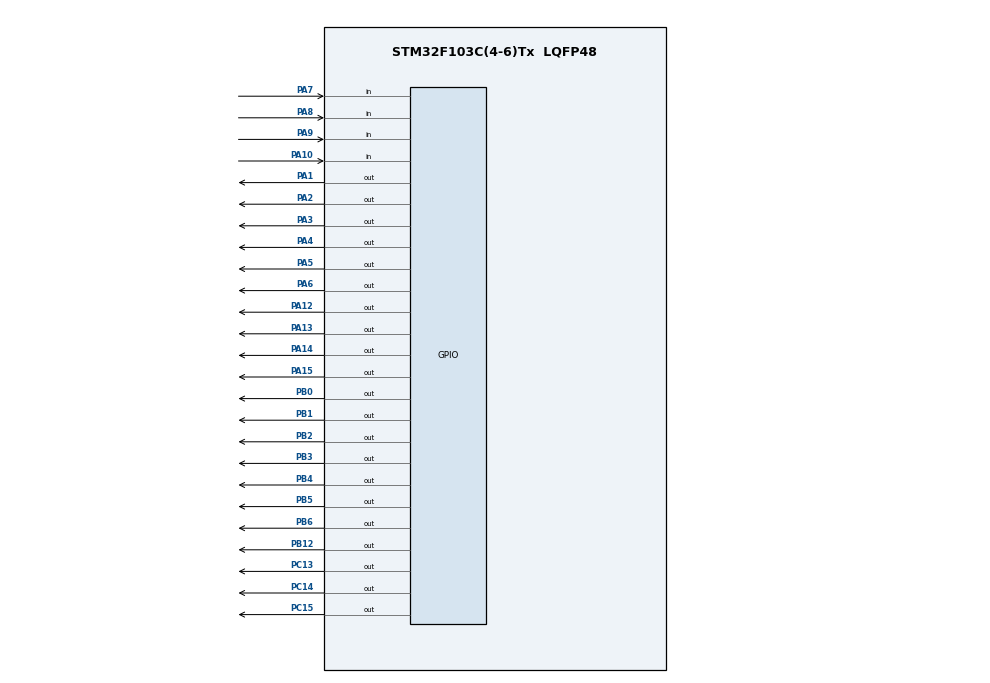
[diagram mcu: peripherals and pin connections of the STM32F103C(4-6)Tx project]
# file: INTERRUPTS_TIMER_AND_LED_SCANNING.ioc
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Mcu.Family=STM32F1
Mcu.Name=STM32F103C(4-6)Tx
Mcu.Package=LQFP48
NVIC.PriorityGroup=NVIC_PRIORITYGROUP_4
NVIC.TIM2_IRQn=true\:0\:0\:false\:false\:true\:true\:true
PA1.Signal=GPIO_Output
PA10.Signal=GPIO_Input
PA12.Signal=GPIO_Output
PA13.Signal=GPIO_Output
PA14.Signal=GPIO_Output
PA15.Signal=GPIO_Output
PA2.Signal=GPIO_Output
PA3.Signal=GPIO_Output
PA4.Signal=GPIO_Output
PA5.Signal=GPIO_Output
PA6.Signal=GPIO_Output
PA7.Signal=GPIO_Input
PA8.Signal=GPIO_Input
PA9.Signal=GPIO_Input
PB0.Signal=GPIO_Output
PB1.Signal=GPIO_Output
PB12.Signal=GPIO_Output
PB2.Signal=GPIO_Output
PB3.Signal=GPIO_Output
PB4.Signal=GPIO_Output
PB5.Signal=GPIO_Output
PB6.Signal=GPIO_Output
PC13-TAMPER-RTC.Signal=GPIO_Output
PC14-OSC32_IN.Signal=GPIO_Output
PC15-OSC32_OUT.Signal=GPIO_Output
PD0-OSC_IN.Mode=HSE-External-Oscillator
PD0-OSC_IN.Signal=RCC_OSC_IN
PD1-OSC_OUT.Mode=HSE-External-Oscillator
PD1-OSC_OUT.Signal=RCC_OSC_OUT
ProjectManager.HeapSize=0x200
ProjectManager.StackSize=0x400
ProjectManager.TargetToolchain=STM32CubeIDE
RCC.APB1Freq_Value=8000000
RCC.APB2Freq_Value=8000000
TIM2.Period=10-1
TIM2.Prescaler=8000-1
VP_SYS_VS_ND.Mode=No_Debug
VP_TIM2_VS_ClockSourceINT.Mode=Internal
board=custom

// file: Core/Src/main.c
/* USER CODE BEGIN Header */
/**
  ******************************************************************************
  * @file           : main.c
  * @brief          : Main program body
  ******************************************************************************
  * @attention
  *
  * <h2><center>&copy; Copyright (c) 2021 STMicroelectronics.
  * All rights reserved.</center></h2>
  *
  * This software component is licensed by ST under BSD 3-Clause license,
  * the "License"; You may not use this file except in compliance with the
  * License. You may obtain a copy of the License at:
  *                        opensource.org/licenses/BSD-3-Clause
  *
  ******************************************************************************
  */
/* USER CODE END Header */
#include "main.h"

/* USER CODE BEGIN Includes */
#include "led_7seg_anode.h"
#include "Timer_Interrupt.h"
#include"input_processing.h"
#include"input_reading.h"
#include"traffic_led.h"
/* USER CODE END Includes */

/* USER CODE BEGIN PD */
#define GROUP_EN GPIOA
#define EN0 GPIO_PIN_12
#define EN1 GPIO_PIN_13
#define EN2 GPIO_PIN_14
#define EN3 GPIO_PIN_15
#define NUMS 4 // Max led

static uint16_t ENA[NUMS] = {EN0,EN1,EN2,EN3};
static int led_buffer[4] = {0,0,0,0};
/* USER CODE END PD */

TIM_HandleTypeDef htim2;

void SystemClock_Config(void);
static void MX_GPIO_Init(void);
static void MX_TIM2_Init(void);

/* USER CODE BEGIN 0 */
void InitTimer(void){
	for(int i = 0; i < NUMS;i++){
		HAL_GPIO_WritePin(GROUP_EN,ENA[i], SET);
	}
}
 void updateClockBuffer(int h,int m){
	 // Hour
		 led_buffer[0] = h /10;
		 led_buffer[1] = h % 10;
	 // Minute
		 led_buffer[2] = m /10;
	 	 led_buffer[3] = m % 10;
}
/* USER CODE END 0 */

int main(void)
{

  /* MCU Configuration--------------------------------------------------------*/

  /* Reset of all peripherals, Initializes the Flash interface and the Systick. */
  HAL_Init();

  /* Configure the system clock */
  SystemClock_Config();

  /* Initialize all configured peripherals */
  MX_GPIO_Init();
  MX_TIM2_Init();
  /* USER CODE BEGIN 2 */
  InitTimer();
  HAL_TIM_Base_Start_IT(&htim2);
  initStatus();
  initLED();
  /* USER CODE END 2 */

  /* Infinite loop */
  /* USER CODE BEGIN WHILE */
  while (1)
  {
	  fsm_for_input_processing();
	  /* USER CODE END WHILE */

  }
}

void SystemClock_Config(void)
{
  RCC_OscInitTypeDef RCC_OscInitStruct = {0};
  RCC_ClkInitTypeDef RCC_ClkInitStruct = {0};

  /** Initializes the RCC Oscillators according to the specified parameters
  * in the RCC_OscInitTypeDef structure.
  */
  RCC_OscInitStruct.OscillatorType = RCC_OSCILLATORTYPE_HSI;
  RCC_OscInitStruct.HSIState = RCC_HSI_ON;
  RCC_OscInitStruct.HSICalibrationValue = RCC_HSICALIBRATION_DEFAULT;
  RCC_OscInitStruct.PLL.PLLState = RCC_PLL_NONE;
  if (HAL_RCC_OscConfig(&RCC_OscInitStruct) != HAL_OK)
  {
    Error_Handler();
  }
  /** Initializes the CPU, AHB and APB buses clocks
  */
  RCC_ClkInitStruct.ClockType = RCC_CLOCKTYPE_HCLK|RCC_CLOCKTYPE_SYSCLK
                              |RCC_CLOCKTYPE_PCLK1|RCC_CLOCKTYPE_PCLK2;
  RCC_ClkInitStruct.SYSCLKSource = RCC_SYSCLKSOURCE_HSI;
  RCC_ClkInitStruct.AHBCLKDivider = RCC_SYSCLK_DIV1;
  RCC_ClkInitStruct.APB1CLKDivider = RCC_HCLK_DIV1;
  RCC_ClkInitStruct.APB2CLKDivider = RCC_HCLK_DIV1;

  if (HAL_RCC_ClockConfig(&RCC_ClkInitStruct, FLASH_LATENCY_0) != HAL_OK)
  {
    Error_Handler();
  }
}

static void MX_TIM2_Init(void)
{

  TIM_ClockConfigTypeDef sClockSourceConfig = {0};
  TIM_MasterConfigTypeDef sMasterConfig = {0};

  htim2.Instance = TIM2;
  htim2.Init.Prescaler = 8000-1;
  htim2.Init.CounterMode = TIM_COUNTERMODE_UP;
  htim2.Init.Period = 10-1;
  htim2.Init.ClockDivision = TIM_CLOCKDIVISION_DIV1;
  htim2.Init.AutoReloadPreload = TIM_AUTORELOAD_PRELOAD_DISABLE;
  if (HAL_TIM_Base_Init(&htim2) != HAL_OK)
  {
    Error_Handler();
  }
  sClockSourceConfig.ClockSource = TIM_CLOCKSOURCE_INTERNAL;
  if (HAL_TIM_ConfigClockSource(&htim2, &sClockSourceConfig) != HAL_OK)
  {
    Error_Handler();
  }
  sMasterConfig.MasterOutputTrigger = TIM_TRGO_RESET;
  sMasterConfig.MasterSlaveMode = TIM_MASTERSLAVEMODE_DISABLE;
  if (HAL_TIMEx_MasterConfigSynchronization(&htim2, &sMasterConfig) != HAL_OK)
  {
    Error_Handler();
  }

}

static void MX_GPIO_Init(void)
{
  GPIO_InitTypeDef GPIO_InitStruct = {0};

  /* GPIO Ports Clock Enable */
  __HAL_RCC_GPIOC_CLK_ENABLE();
  __HAL_RCC_GPIOD_CLK_ENABLE();
  __HAL_RCC_GPIOA_CLK_ENABLE();
  __HAL_RCC_GPIOB_CLK_ENABLE();

  /*Configure GPIO pin Output Level */
  HAL_GPIO_WritePin(GPIOC, GPIO_PIN_13|GPIO_PIN_14|GPIO_PIN_15, GPIO_PIN_RESET);

  /*Configure GPIO pin Output Level */
  HAL_GPIO_WritePin(GPIOA, GPIO_PIN_1|GPIO_PIN_2|GPIO_PIN_3|GPIO_PIN_4
                          |GPIO_PIN_5|GPIO_PIN_6|GPIO_PIN_12|GPIO_PIN_13
                          |GPIO_PIN_14|GPIO_PIN_15, GPIO_PIN_RESET);

  /*Configure GPIO pin Output Level */
  HAL_GPIO_WritePin(GPIOB, GPIO_PIN_0|GPIO_PIN_1|GPIO_PIN_2|GPIO_PIN_12
                          |GPIO_PIN_3|GPIO_PIN_4|GPIO_PIN_5|GPIO_PIN_6, GPIO_PIN_RESET);

  /*Configure GPIO pins : PC13 PC14 PC15 */
  GPIO_InitStruct.Pin = GPIO_PIN_13|GPIO_PIN_14|GPIO_PIN_15;
  GPIO_InitStruct.Mode = GPIO_MODE_OUTPUT_PP;
  GPIO_InitStruct.Pull = GPIO_NOPULL;
  GPIO_InitStruct.Speed = GPIO_SPEED_FREQ_LOW;
  HAL_GPIO_Init(GPIOC, &GPIO_InitStruct);

  /*Configure GPIO pins : PA1 PA2 PA3 PA4
                           PA5 PA6 PA12 PA13
                           PA14 PA15 */
  GPIO_InitStruct.Pin = GPIO_PIN_1|GPIO_PIN_2|GPIO_PIN_3|GPIO_PIN_4
                          |GPIO_PIN_5|GPIO_PIN_6|GPIO_PIN_12|GPIO_PIN_13
                          |GPIO_PIN_14|GPIO_PIN_15;
  GPIO_InitStruct.Mode = GPIO_MODE_OUTPUT_PP;
  GPIO_InitStruct.Pull = GPIO_NOPULL;
  GPIO_InitStruct.Speed = GPIO_SPEED_FREQ_LOW;
  HAL_GPIO_Init(GPIOA, &GPIO_InitStruct);

  /*Configure GPIO pins : PA7 PA8 PA9 PA10 */
  GPIO_InitStruct.Pin = GPIO_PIN_7|GPIO_PIN_8|GPIO_PIN_9|GPIO_PIN_10;
  GPIO_InitStruct.Mode = GPIO_MODE_INPUT;
  GPIO_InitStruct.Pull = GPIO_NOPULL;
  HAL_GPIO_Init(GPIOA, &GPIO_InitStruct);

  /*Configure GPIO pins : PB0 PB1 PB2 PB12
                           PB3 PB4 PB5 PB6 */
  GPIO_InitStruct.Pin = GPIO_PIN_0|GPIO_PIN_1|GPIO_PIN_2|GPIO_PIN_12
                          |GPIO_PIN_3|GPIO_PIN_4|GPIO_PIN_5|GPIO_PIN_6;
  GPIO_InitStruct.Mode = GPIO_MODE_OUTPUT_PP;
  GPIO_InitStruct.Pull = GPIO_NOPULL;
  GPIO_InitStruct.Speed = GPIO_SPEED_FREQ_LOW;
  HAL_GPIO_Init(GPIOB, &GPIO_InitStruct);

}

/* USER CODE BEGIN 4 */

int led_counter = 0;
int word_counter = 0;
int blink_counter = 0;
int val = -1; // Init
void clear7SEG(int index){
	// Turn off the previous:
	if(index >= 0){
		HAL_GPIO_WritePin(GROUP_EN, ENA[index],SET);
	}
}
void update7SEG(int index){
	HAL_GPIO_WritePin(GROUP_EN, ENA[index],RESET);
	updatesevenSegmentLEDBuffer(led_buffer[index],0);
	sevenSegementLEDDriver(0);
}
int updateIndex(int index){
	// Update the index
	return (index + 1) % NUMS;
}
void presentCLOCK(void){
	//Led
	led_counter = timerLED_run(led_counter);
	//flag
	if(getChangeStateLED() == 1){
		HAL_GPIO_TogglePin(GPIOB, GPIO_PIN_12);
		clear7SEG(val);
		val = updateIndex(val);
		update7SEG(val);
	}
}

void HAL_TIM_PeriodElapsedCallback(TIM_HandleTypeDef *htim){
		//Delay
		if(getModeValue() > 0) {
			blink_counter = timer_Blinkrun(blink_counter);
			if(blink_counter <=0){
				blinkLED2Hz(getModeValue());
			}
		}
		button_reading();
		timerDELAY_run();
		presentCLOCK();
}
/* USER CODE END 4 */

void Error_Handler(void)
{
  __disable_irq();
  while (1)
  {
  }
}

/************************ (C) COPYRIGHT STMicroelectronics *****END OF FILE****/
